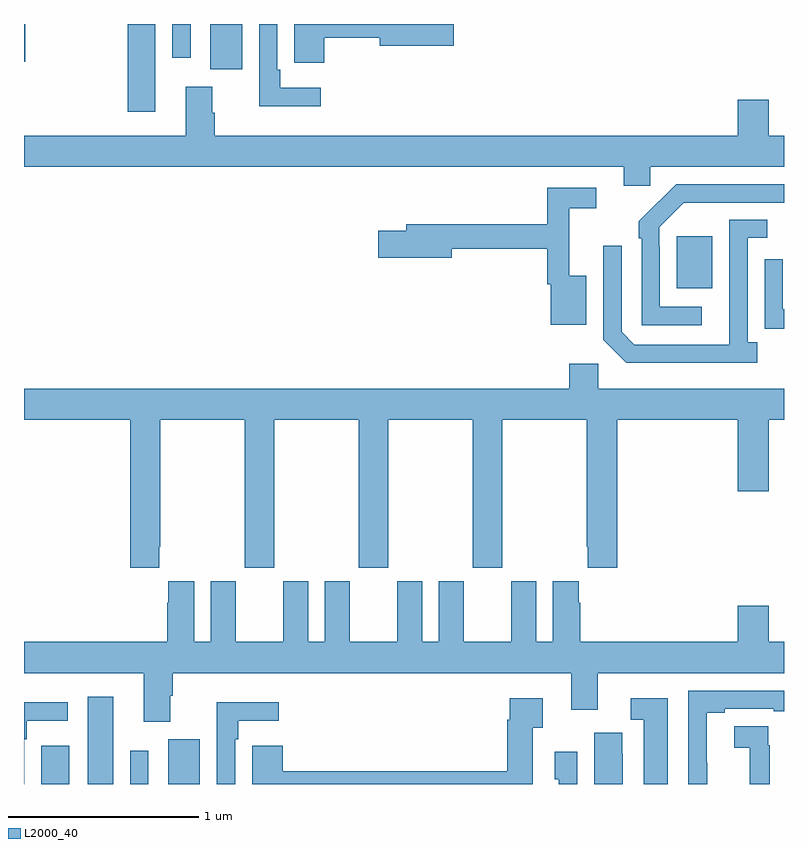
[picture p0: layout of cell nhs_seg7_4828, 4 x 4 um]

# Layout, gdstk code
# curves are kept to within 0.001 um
import gdstk
lib = gdstk.Library(unit=1e-6, precision=1e-09)
def R(c, l, rs):  # rectangles x0, y0, x1, y1
    for r in rs: c.add(gdstk.rectangle(r[:2], r[2:], *l))
def P(c, l, *ps):  # polygons
    for p in ps: c.add(gdstk.Polygon(p, *l))
L2000_40 = (2000, 40)

nhs_seg7_4828 = lib.new_cell('nhs_seg7_4828')
R(nhs_seg7_4828, L2000_40, [(413.09,1032,413.239,1032.202), (413.336,1032,413.47,1032.46), (413.559,1032,413.655,1032.175), (413.759,1032,413.926,1032.235), (416.435,1034.609,416.623,1034.884), (413.546,1035.537,413.692,1036), (413.981,1035.762,414.148,1036), (413,1035.801,413.006,1036), (413.781,1035.822,413.877,1036)])
P(nhs_seg7_4828, L2000_40, [(414.579,1035.928),(414.872,1035.928),(414.872,1035.886),(415.261,1035.886),(415.261,1036),(414.422,1036),(414.422,1035.907),(414.423,1035.907),(414.423,1035.795),(414.579,1035.795)],
  [(414.562,1035.664),(414.349,1035.664),(414.349,1035.76),(414.333,1035.76),(414.333,1036),(414.237,1036),(414.237,1035.566),(414.562,1035.566)],
  [(416.295,1035.248),(417,1035.248),(417,1035.412),(416.92,1035.412),(416.92,1035.601),(416.756,1035.601),(416.756,1035.412),(414.005,1035.412),(414.005,1035.533),(413.992,1035.533),(413.992,1035.67),(413.852,1035.67),(413.852,1035.412),(413,1035.412),(413,1035.248),(416.156,1035.248),(416.156,1035.15),(416.295,1035.15)],
  [(416.566,1034.511),(416.346,1034.511),(416.346,1034.831),(416.343,1034.831),(416.343,1034.931),(416.472,1035.06),(417,1035.06),(417,1035.156),(416.432,1035.156),(416.235,1034.961),(416.235,1034.873),(416.25,1034.873),(416.25,1034.415),(416.566,1034.415)],
  [(415.96,1034.674),(415.871,1034.674),(415.871,1035.03),(416.011,1035.03),(416.011,1035.138),(415.753,1035.138),(415.753,1034.947),(415.013,1034.947),(415.013,1034.913),(414.864,1034.913),(414.864,1034.771),(415.252,1034.771),(415.252,1034.818),(415.753,1034.818),(415.753,1034.631),(415.772,1034.631),(415.772,1034.417),(415.96,1034.417)],
  [(416.86,1034.326),(416.808,1034.326),(416.808,1034.874),(416.911,1034.874),(416.911,1034.97),(416.712,1034.97),(416.711,1034.313),(416.211,1034.313),(416.145,1034.379),(416.145,1034.833),(416.049,1034.833),(416.049,1034.337),(416.17,1034.216),(416.86,1034.216)],
  [(417,1034.499),(416.994,1034.499),(416.994,1034.761),(416.898,1034.761),(416.898,1034.506),(416.899,1034.506),(416.899,1034.397),(417,1034.397)],
  [(413,1033.916),(413.558,1033.916),(413.558,1033.137),(413.713,1033.137),(413.713,1033.249),(413.718,1033.249),(413.718,1033.916),(414.163,1033.916),(414.163,1033.137),(414.318,1033.137),(414.318,1033.916),(414.763,1033.916),(414.763,1033.137),(414.918,1033.137),(414.918,1033.916),(415.363,1033.916),(415.363,1033.137),(415.518,1033.137),(415.518,1033.916),(415.963,1033.916),(415.963,1033.249),(415.967,1033.249),(415.967,1033.137),(416.123,1033.137),(416.123,1033.916),(416.756,1033.916),(416.756,1033.542),(416.92,1033.542),(416.92,1033.916),(417,1033.916),(417,1034.08),(416.022,1034.08),(416.022,1034.212),(415.871,1034.212),(415.871,1034.08),(413,1034.08)],
  [(415.784,1033.066),(415.784,1032.748),(415.696,1032.748),(415.696,1033.066),(415.565,1033.066),(415.565,1032.748),(415.315,1032.748),(415.315,1033.066),(415.184,1033.066),(415.184,1032.748),(415.096,1032.748),(415.096,1033.066),(414.965,1033.066),(414.965,1032.748),(414.715,1032.748),(414.715,1033.066),(414.584,1033.066),(414.584,1032.748),(414.496,1032.748),(414.496,1033.066),(414.365,1033.066),(414.365,1032.748),(414.115,1032.748),(414.115,1033.066),(413.984,1033.066),(413.984,1032.748),(413.896,1032.748),(413.896,1033.066),(413.759,1033.066),(413.759,1032.953),(413.753,1032.953),(413.753,1032.748),(413,1032.748),(413,1032.584),(413.63,1032.584),(413.63,1032.327),(413.77,1032.327),(413.77,1032.464),(413.783,1032.464),(413.783,1032.584),(415.88,1032.584),(415.88,1032.39),(416.02,1032.39),(416.02,1032.584),(417,1032.584),(417,1032.748),(416.92,1032.748),(416.92,1032.937),(416.756,1032.937),(416.756,1032.748),(415.928,1032.748),(415.928,1032.953),(415.921,1032.953),(415.921,1033.066)],
  [(416.595,1032.113),(416.593,1032.113),(416.593,1032.376),(416.689,1032.376),(416.689,1032.396),(416.945,1032.396),(416.945,1032.382),(417,1032.382),(417,1032.492),(416.496,1032.492),(416.496,1032),(416.595,1032)],
  [(416.389,1032.451),(416.193,1032.451),(416.193,1032.339),(416.261,1032.339),(416.261,1032),(416.389,1032)],
  [(415.678,1032.295),(415.729,1032.295),(415.729,1032.451),(415.556,1032.451),(415.556,1032.338),(415.544,1032.338),(415.544,1032.068),(414.362,1032.068),(414.362,1032.202),(414.201,1032.202),(414.201,1032.089),(414.2,1032.089),(414.2,1032),(415.678,1032)],
  [(413.001,1032.236),(413.014,1032.236),(413.014,1032.332),(413.23,1032.332),(413.23,1032.43),(413,1032.43),(413,1032),(413.001,1032)],
  [(414.111,1032.236),(414.127,1032.236),(414.127,1032.332),(414.34,1032.332),(414.34,1032.43),(414.015,1032.43),(414.015,1032),(414.111,1032)],
  [(416.924,1032.203),(416.918,1032.203),(416.918,1032.305),(416.739,1032.305),(416.739,1032.19),(416.821,1032.19),(416.821,1032),(416.924,1032)],
  [(416.152,1032.158),(416.149,1032.158),(416.149,1032.271),(416,1032.271),(416,1032),(416.152,1032)],
  [(415.911,1032.169),(415.794,1032.169),(415.794,1032.024),(415.815,1032.024),(415.815,1032),(415.911,1032)])

lib.write_gds('nhs_seg7_4828.gds')
